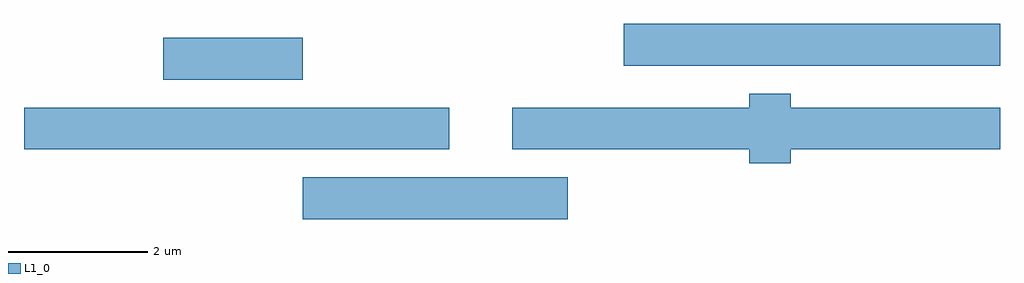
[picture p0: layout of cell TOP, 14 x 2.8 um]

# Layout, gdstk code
import gdstk
lib = gdstk.Library(unit=1e-6, precision=1e-09)
def R(c, l, rs):  # rectangles x0, y0, x1, y1
    for r in rs: c.add(gdstk.rectangle(r[:2], r[2:], *l))
L1_0 = (1, 0)

top = lib.new_cell('TOP')
R(top, L1_0, [(4,0,7.8,0.6), (10.4,0.8,11,1.8), (0,1,6.1,1.6), (7,1,14,1.6), (2,2,4,2.6), (8.6,2.2,14,2.8)])

lib.write_gds('TOP.gds')
